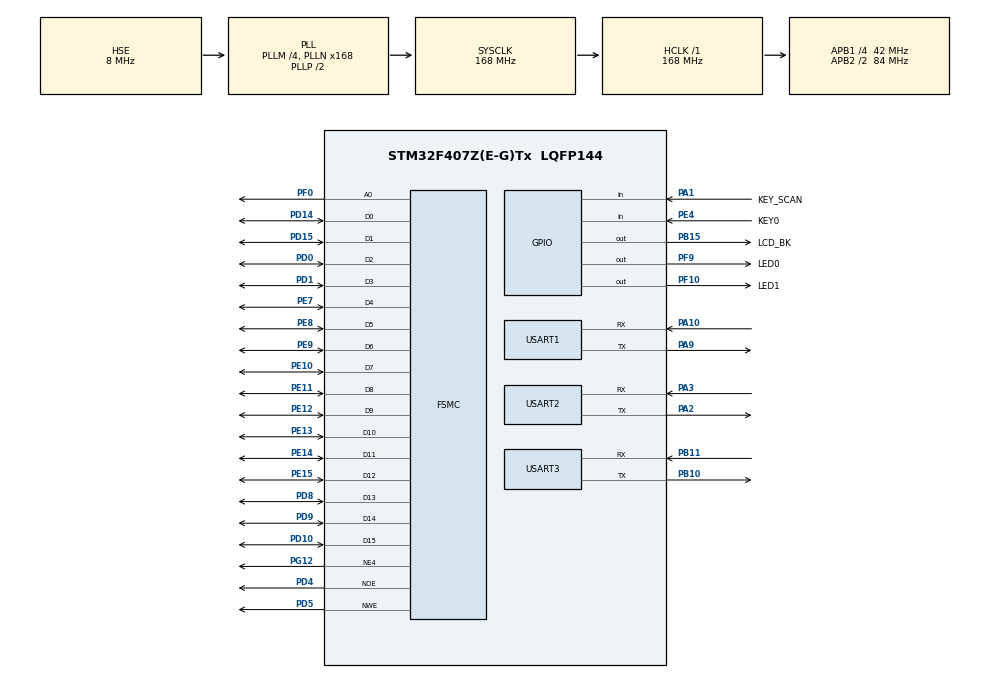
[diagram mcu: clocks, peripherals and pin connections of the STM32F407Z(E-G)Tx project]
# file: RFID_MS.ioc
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FREERTOS.Tasks01=defaultTask,0,128,StartDefaultTask,Default,NULL,Dynamic,NULL,NULL
Mcu.Family=STM32F4
Mcu.Name=STM32F407Z(E-G)Tx
Mcu.Package=LQFP144
NVIC.PriorityGroup=NVIC_PRIORITYGROUP_4
NVIC.TIM7_IRQn=true\:15\:0\:false\:false\:true\:false\:false\:true\:true
NVIC.TimeBase=TIM7_IRQn
NVIC.TimeBaseIP=TIM7
NVIC.USART1_IRQn=true\:5\:0\:false\:false\:true\:true\:true\:true\:true
NVIC.USART2_IRQn=true\:5\:0\:false\:false\:true\:true\:true\:true\:true
NVIC.USART3_IRQn=true\:5\:0\:false\:false\:true\:true\:true\:true\:true
PA1.GPIO_Label=KEY_SCAN
PA1.GPIO_PuPd=GPIO_PULLDOWN
PA1.Signal=GPIO_Input
PA10.Mode=Asynchronous
PA10.Signal=USART1_RX
PA13.Mode=Serial_Wire
PA13.Signal=SYS_JTMS-SWDIO
PA14.Mode=Serial_Wire
PA14.Signal=SYS_JTCK-SWCLK
PA2.Mode=Asynchronous
PA2.Signal=USART2_TX
PA3.Mode=Asynchronous
PA3.Signal=USART2_RX
PA9.Mode=Asynchronous
PA9.Signal=USART1_TX
PB10.Mode=Asynchronous
PB10.Signal=USART3_TX
PB11.Mode=Asynchronous
PB11.Signal=USART3_RX
PB15.GPIO_Label=LCD_BK
PB15.Signal=GPIO_Output
PC14-OSC32_IN.Mode=LSE-External-Oscillator
PC14-OSC32_IN.Signal=RCC_OSC32_IN
PC15-OSC32_OUT.Mode=LSE-External-Oscillator
PC15-OSC32_OUT.Signal=RCC_OSC32_OUT
PD0.Signal=FSMC_D2_DA2
PD1.Signal=FSMC_D3_DA3
PD10.Signal=FSMC_D15_DA15
PD14.Signal=FSMC_D0_DA0
PD15.Signal=FSMC_D1_DA1
PD4.Signal=FSMC_NOE
PD5.Signal=FSMC_NWE
PD8.Signal=FSMC_D13_DA13
PD9.Signal=FSMC_D14_DA14
PE10.Signal=FSMC_D7_DA7
PE11.Signal=FSMC_D8_DA8
PE12.Signal=FSMC_D9_DA9
PE13.Signal=FSMC_D10_DA10
PE14.Signal=FSMC_D11_DA11
PE15.Signal=FSMC_D12_DA12
PE4.GPIO_Label=KEY0
PE4.GPIO_PuPd=GPIO_PULLDOWN
PE4.Signal=GPIO_Input
PE7.Signal=FSMC_D4_DA4
PE8.Signal=FSMC_D5_DA5
PE9.Signal=FSMC_D6_DA6
PF0.Signal=FSMC_A0
PF10.GPIO_Label=LED1
PF10.Signal=GPIO_Output
PF9.GPIO_Label=LED0
PF9.Signal=GPIO_Output
PG12.Mode=NorPsramChipSelect4_4
PG12.Signal=FSMC_NE4
PH0-OSC_IN.Mode=HSE-External-Oscillator
PH0-OSC_IN.Signal=RCC_OSC_IN
PH1-OSC_OUT.Mode=HSE-External-Oscillator
PH1-OSC_OUT.Signal=RCC_OSC_OUT
ProjectManager.HeapSize=0x1000
ProjectManager.StackSize=0x1000
ProjectManager.TargetToolchain=MDK-ARM V5.32
RCC.48MHZClocksFreq_Value=84000000
RCC.AHBFreq_Value=168000000
RCC.APB1CLKDivider=RCC_HCLK_DIV4
RCC.APB1Freq_Value=42000000
RCC.APB1TimFreq_Value=84000000
RCC.APB2CLKDivider=RCC_HCLK_DIV2
RCC.APB2Freq_Value=84000000
RCC.APB2TimFreq_Value=168000000
RCC.CortexFreq_Value=168000000
RCC.HCLKFreq_Value=168000000
RCC.HSE_VALUE=8000000
RCC.HSI_VALUE=16000000
RCC.PLLM=4
RCC.PLLN=168
RCC.PLLSourceVirtual=RCC_PLLSOURCE_HSE
RCC.RCC_RTC_Clock_Source=RCC_RTCCLKSOURCE_LSE
RCC.RCC_RTC_Clock_SourceVirtual=RCC_RTCCLKSOURCE_LSE
RCC.SYSCLKFreq_VALUE=168000000
RCC.SYSCLKSource=RCC_SYSCLKSOURCE_PLLCLK
RCC.VCOOutputFreq_Value=336000000
RTC.Format=RTC_FORMAT_BIN
SH.FSMC_A0.0=FSMC_A0,A0_4
SH.FSMC_D0_DA0.0=FSMC_D0,16b-d4
SH.FSMC_D10_DA10.0=FSMC_D10,16b-d4
SH.FSMC_D11_DA11.0=FSMC_D11,16b-d4
SH.FSMC_D12_DA12.0=FSMC_D12,16b-d4
SH.FSMC_D13_DA13.0=FSMC_D13,16b-d4
SH.FSMC_D14_DA14.0=FSMC_D14,16b-d4
SH.FSMC_D15_DA15.0=FSMC_D15,16b-d4
SH.FSMC_D1_DA1.0=FSMC_D1,16b-d4
SH.FSMC_D2_DA2.0=FSMC_D2,16b-d4
SH.FSMC_D3_DA3.0=FSMC_D3,16b-d4
SH.FSMC_D4_DA4.0=FSMC_D4,16b-d4
SH.FSMC_D5_DA5.0=FSMC_D5,16b-d4
SH.FSMC_D6_DA6.0=FSMC_D6,16b-d4
SH.FSMC_D7_DA7.0=FSMC_D7,16b-d4
SH.FSMC_D8_DA8.0=FSMC_D8,16b-d4
SH.FSMC_D9_DA9.0=FSMC_D9,16b-d4
SH.FSMC_NOE.0=FSMC_NOE,Lcd4
SH.FSMC_NWE.0=FSMC_NWE,Lcd4
TIM2.Period=65535
TIM2.Prescaler=84-1
USART1.VirtualMode=VM_ASYNC
USART2.VirtualMode=VM_ASYNC
USART3.VirtualMode=VM_ASYNC
VP_FREERTOS_VS_CMSIS_V1.Mode=CMSIS_V1
VP_RTC_VS_RTC_Activate.Mode=RTC_Enabled
VP_RTC_VS_RTC_Calendar.Mode=RTC_Calendar
VP_SYS_VS_tim7.Mode=TIM7
VP_TIM2_VS_ClockSourceINT.Mode=Internal
board=custom

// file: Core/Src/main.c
/* USER CODE BEGIN Header */
/**
  ******************************************************************************
  * @file           : main.c
  * @brief          : Main program body
  ******************************************************************************
  * @attention
  *
  * Copyright (c) 2023 STMicroelectronics.
  * All rights reserved.
  *
  * This software is licensed under terms that can be found in the LICENSE file
  * in the root directory of this software component.
  * If no LICENSE file comes with this software, it is provided AS-IS.
  *
  ******************************************************************************
  */
/* USER CODE END Header */
#include "main.h"
#include "cmsis_os.h"
#include "rtc.h"
#include "tim.h"
#include "usart.h"
#include "gpio.h"
#include "fsmc.h"

void SystemClock_Config(void);
void MX_FREERTOS_Init(void);

int main(void)
{

  /* MCU Configuration--------------------------------------------------------*/

  /* Reset of all peripherals, Initializes the Flash interface and the Systick. */
  HAL_Init();

  /* Configure the system clock */
  SystemClock_Config();

  /* Initialize all configured peripherals */
  MX_GPIO_Init();
  MX_FSMC_Init();
  MX_RTC_Init();
  MX_USART1_UART_Init();
  MX_USART2_UART_Init();
  MX_USART3_UART_Init();
  MX_TIM2_Init();
  /* USER CODE BEGIN 2 */
    LCD_Init();
    Touch_Init();
    RTC_Get(&system_time.year, &system_time.month, &system_time.day,
            &system_time.hour, &system_time.minute, &system_time.second);// 获取最新RTC时间
    printf("%d-%d-%d %d:%d:%d\r\n", system_time.year, system_time.month, system_time.day,
            system_time.hour, system_time.minute, system_time.second);
    lv_init();                  // lvgl初始化，如果这个没有初始化，那么下面的初始化会崩溃
    lv_port_disp_init();        // 显示器初始化
    lv_port_indev_init();       // 输入设备初始化（如果没有实现就注释掉）
    demo_create();  // 创建用户交互界面
  /* USER CODE END 2 */

  /* Call init function for freertos objects (in freertos.c) */
  MX_FREERTOS_Init();

  /* Start scheduler */
  osKernelStart();

  /* We should never get here as control is now taken by the scheduler */
  /* Infinite loop */
  while (1)
  {

  }
}

void SystemClock_Config(void)
{
  RCC_OscInitTypeDef RCC_OscInitStruct = {0};
  RCC_ClkInitTypeDef RCC_ClkInitStruct = {0};

  /** Configure the main internal regulator output voltage
  */
  __HAL_RCC_PWR_CLK_ENABLE();
  __HAL_PWR_VOLTAGESCALING_CONFIG(PWR_REGULATOR_VOLTAGE_SCALE1);

  /** Initializes the RCC Oscillators according to the specified parameters
  * in the RCC_OscInitTypeDef structure.
  */
  RCC_OscInitStruct.OscillatorType = RCC_OSCILLATORTYPE_HSE|RCC_OSCILLATORTYPE_LSE;
  RCC_OscInitStruct.HSEState = RCC_HSE_ON;
  RCC_OscInitStruct.LSEState = RCC_LSE_ON;
  RCC_OscInitStruct.PLL.PLLState = RCC_PLL_ON;
  RCC_OscInitStruct.PLL.PLLSource = RCC_PLLSOURCE_HSE;
  RCC_OscInitStruct.PLL.PLLM = 4;
  RCC_OscInitStruct.PLL.PLLN = 168;
  RCC_OscInitStruct.PLL.PLLP = RCC_PLLP_DIV2;
  RCC_OscInitStruct.PLL.PLLQ = 4;
  if (HAL_RCC_OscConfig(&RCC_OscInitStruct) != HAL_OK)
  {
    Error_Handler();
  }

  /** Initializes the CPU, AHB and APB buses clocks
  */
  RCC_ClkInitStruct.ClockType = RCC_CLOCKTYPE_HCLK|RCC_CLOCKTYPE_SYSCLK
                              |RCC_CLOCKTYPE_PCLK1|RCC_CLOCKTYPE_PCLK2;
  RCC_ClkInitStruct.SYSCLKSource = RCC_SYSCLKSOURCE_PLLCLK;
  RCC_ClkInitStruct.AHBCLKDivider = RCC_SYSCLK_DIV1;
  RCC_ClkInitStruct.APB1CLKDivider = RCC_HCLK_DIV4;
  RCC_ClkInitStruct.APB2CLKDivider = RCC_HCLK_DIV2;

  if (HAL_RCC_ClockConfig(&RCC_ClkInitStruct, FLASH_LATENCY_5) != HAL_OK)
  {
    Error_Handler();
  }
}

void HAL_TIM_PeriodElapsedCallback(TIM_HandleTypeDef *htim)
{
  if (htim->Instance == TIM7) {
    HAL_IncTick();
  }
}

void Error_Handler(void)
{
  __disable_irq();
  while (1)
  {
  }
}

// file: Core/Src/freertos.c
/* USER CODE BEGIN Header */
/**
  ******************************************************************************
  * File Name          : freertos.c
  * Description        : Code for freertos applications
  ******************************************************************************
  * @attention
  *
  * Copyright (c) 2023 STMicroelectronics.
  * All rights reserved.
  *
  * This software is licensed under terms that can be found in the LICENSE file
  * in the root directory of this software component.
  * If no LICENSE file comes with this software, it is provided AS-IS.
  *
  ******************************************************************************
  */
/* USER CODE END Header */

#include "FreeRTOS.h"
#include "task.h"
#include "main.h"
#include "cmsis_os.h"

/* USER CODE BEGIN Includes */
#include "bsp.h"

/* USER CODE END Includes */

osThreadId LVGL_TaskHandle;
osThreadId LedToggle_TaskHandle;
osThreadId Protocol_TaskHandle;
osThreadId KeyScan_TaskHandle;
osThreadId RFIDScan_TaskHandle;
osMessageQId KeySta_QueueHandle;
osMessageQId LVGL_Refresh_QueueHandle;

void Start_LVGL_Task(void const * argument);
void Start_LedToggle_Task(void const * argument);
void Start_Protocol_Task(void const * argument);
void Start_KeyScan_Task(void const * argument);
void Start_RFIDScan_Task(void const * argument);

void MX_FREERTOS_Init(void); /* (MISRA C 2004 rule 8.1) */

/* GetIdleTaskMemory prototype (linked to static allocation support) */
void vApplicationGetIdleTaskMemory( StaticTask_t **ppxIdleTaskTCBBuffer, StackType_t **ppxIdleTaskStackBuffer, uint32_t *pulIdleTaskStackSize );

/* USER CODE BEGIN GET_IDLE_TASK_MEMORY */
static StaticTask_t xIdleTaskTCBBuffer;
static StackType_t xIdleStack[configMINIMAL_STACK_SIZE];

void vApplicationGetIdleTaskMemory( StaticTask_t **ppxIdleTaskTCBBuffer, StackType_t **ppxIdleTaskStackBuffer, uint32_t *pulIdleTaskStackSize )
{
  *ppxIdleTaskTCBBuffer = &xIdleTaskTCBBuffer;
  *ppxIdleTaskStackBuffer = &xIdleStack[0];
  *pulIdleTaskStackSize = configMINIMAL_STACK_SIZE;
  /* place for user code */
}
/* USER CODE END GET_IDLE_TASK_MEMORY */

void MX_FREERTOS_Init(void) {

  /* Create the queue(s) */
  /* definition and creation of KeySta_Queue */
  osMessageQDef(KeySta_Queue, 1, uint8_t);
  KeySta_QueueHandle = osMessageCreate(osMessageQ(KeySta_Queue), NULL);

  /* definition and creation of LVGL_Refresh_Queue */
  osMessageQDef(LVGL_Refresh_Queue, 3, uint8_t);
  LVGL_Refresh_QueueHandle = osMessageCreate(osMessageQ(LVGL_Refresh_Queue), NULL);

  /* Create the thread(s) */
  /* definition and creation of LVGL_Task */
  osThreadDef(LVGL_Task, Start_LVGL_Task, osPriorityHigh, 0, 512);
  LVGL_TaskHandle = osThreadCreate(osThread(LVGL_Task), NULL);

  /* definition and creation of LedToggle_Task */
  osThreadDef(LedToggle_Task, Start_LedToggle_Task, osPriorityIdle, 0, 128);
  LedToggle_TaskHandle = osThreadCreate(osThread(LedToggle_Task), NULL);

  /* definition and creation of Protocol_Task */
  osThreadDef(Protocol_Task, Start_Protocol_Task, osPriorityAboveNormal, 0, 128);
  Protocol_TaskHandle = osThreadCreate(osThread(Protocol_Task), NULL);

  /* definition and creation of KeyScan_Task */
  osThreadDef(KeyScan_Task, Start_KeyScan_Task, osPriorityIdle, 0, 128);
  KeyScan_TaskHandle = osThreadCreate(osThread(KeyScan_Task), NULL);

  /* definition and creation of RFIDScan_Task */
  osThreadDef(RFIDScan_Task, Start_RFIDScan_Task, osPriorityRealtime, 0, 128);
  RFIDScan_TaskHandle = osThreadCreate(osThread(RFIDScan_Task), NULL);

}

void Start_LVGL_Task(void const * argument)
{
  /* USER CODE BEGIN Start_LVGL_Task */
    osEvent lv_evt;
  /* Infinite loop */
  for(;;)
  {
    lv_evt = osMessageGet(LVGL_Refresh_QueueHandle, 10);
    switch (lv_evt.value.v) {
        case LVGL_TIME_REFRESH:
            time_update();
            break;
        case LVGL_INSTORAGE_SINGLE_RECORD_ADD:
            screen_instorage_record_add(TAG[0].TID);
            break;
        case LVGL_INSTORAGE_MULTI_RECORD_ADD:
            for (uint32_t i = 0; i < tag_filter.len; i++) {
                screen_instorage_record_add(tag_filter.tag[i].TID);
            }
            break;
        case LVGL_OUTSTORAGE_SINGLE_RECORD_ADD:
            screen_outstorage_record_add(TAG[0].TID);
            break;
        case LVGL_OUTSTORAGE_MULTI_RECORD_ADD:
            for (uint32_t i = 0; i < tag_filter.len; i++) {
                screen_outstorage_record_add(tag_filter.tag[i].TID);
            }
            break;
        default:
            break;
    }
    lv_task_handler();//lvgl的事务处理
    osDelay(1);
  }
  /* USER CODE END Start_LVGL_Task */
}

void Start_LedToggle_Task(void const * argument)
{
  /* USER CODE BEGIN Start_LedToggle_Task */
  /* Infinite loop */
  for(;;)
  {
    osDelay(500);
    HAL_GPIO_TogglePin(LED0_GPIO_Port,LED0_Pin);
    osDelay(500);
    osMessagePut(LVGL_Refresh_QueueHandle, LVGL_TIME_REFRESH, 20);
  }
  /* USER CODE END Start_LedToggle_Task */
}

void Start_Protocol_Task(void const * argument)
{
  /* USER CODE BEGIN Start_Protocol_Task */
  /* Infinite loop */
  for(;;)
  {
    if (Uart1_Rx_Sta == 1) {
        printf("Uart1_Rx:%s\r\n", Uart1_Rx_Buf);
        Protocol_Decode(PROTOCOL_MODE_DEFAULT, Uart1_Rx_Buf, strlen(Uart1_Rx_Buf));
        Uart1_Rx_Sta = 0;
        RTC_Get(&system_time.year, &system_time.month, &system_time.day,
            &system_time.hour, &system_time.minute, &system_time.second);
        printf("%d-%d-%d %d:%d:%d\r\n", system_time.year, system_time.month, system_time.day,
            system_time.hour, system_time.minute, system_time.second);
    }
    if (Uart3_Rx_Sta == 1) {
        printf("Uart3_Rx:%s\r\n", Uart3_Rx_Buf);
        Protocol_Decode(PROTOCOL_MODE_DEFAULT, Uart3_Rx_Buf, strlen(Uart3_Rx_Buf));
        Uart3_Rx_Sta = 0;
        RTC_Get(&system_time.year, &system_time.month, &system_time.day,
            &system_time.hour, &system_time.minute, &system_time.second);
        printf("%d-%d-%d %d:%d:%d\r\n", system_time.year, system_time.month, system_time.day,
            system_time.hour, system_time.minute, system_time.second);
    }
    osDelay(10);
  }
  /* USER CODE END Start_Protocol_Task */
}

void Start_KeyScan_Task(void const * argument)
{
  /* USER CODE BEGIN Start_KeyScan_Task */
  /* Infinite loop */
  for(;;)
  {
	/*检测是否有按键按下 */
	if(HAL_GPIO_ReadPin(SCANKEY_GPIO_PORT,SCANKEY_PIN) == KEY_ON )
	{
        osMessagePut(KeySta_QueueHandle, KEY_PRESS, osWaitForever);
		/*等待按键释放 */
		while(HAL_GPIO_ReadPin(SCANKEY_GPIO_PORT,SCANKEY_PIN) == KEY_ON);
        osMessagePut(KeySta_QueueHandle, KEY_RELEASE, osWaitForever);
	}
    osDelay(20);
  }
  /* USER CODE END Start_KeyScan_Task */
}

void Start_RFIDScan_Task(void const * argument)
{
  /* USER CODE BEGIN Start_RFIDScan_Task */
    uint8_t scan_sta = KEY_RELEASE;
    osEvent evt;
  /* Infinite loop */
  for(;;)
  {
    evt = osMessageGet(KeySta_QueueHandle, 20);
    if (rfid_scan_enable == SCAN_ENABLE) { //RFID扫描使能
        if (evt.value.v == KEY_PRESS) {
            scan_sta = KEY_PRESS;
        } else if (evt.value.v == KEY_RELEASE) {
            scan_sta = KEY_RELEASE;
            if (rfid_scan_mode == SCAN_MODE_INSTORAGE_MULTI || rfid_scan_mode == SCAN_MODE_OUTSTORAGE_MULTI) { //RFID连续扫描模式，松开按键后进行标签筛选及显示
                RFID_FilterTag(&tag_cnt);
                    if (rfid_scan_mode == SCAN_MODE_INSTORAGE_MULTI) {
                        osMessagePut(LVGL_Refresh_QueueHandle, LVGL_INSTORAGE_MULTI_RECORD_ADD, 20);
                    }
                    else  {
                        osMessagePut(LVGL_Refresh_QueueHandle, LVGL_OUTSTORAGE_MULTI_RECORD_ADD, 20);
                    }
            }
            tag_cnt = 0;
            HAL_GPIO_WritePin(LED1_GPIO_Port, LED1_Pin, GPIO_PIN_SET);
        }
        if (scan_sta != KEY_RELEASE) { //RFID扫描按键未松开
            if (rfid_scan_mode == SCAN_MODE_INSTORAGE_SINGLE || rfid_scan_mode == SCAN_MODE_OUTSTORAGE_SINGLE) { //RFID单次扫描模式
                if (tag_cnt == 0) {
                    RFID_GetSingleTID();
                    HAL_GPIO_TogglePin(LED1_GPIO_Port,LED1_Pin);
                    if (tag_cnt != 0) {
                        if (rfid_scan_mode == SCAN_MODE_INSTORAGE_SINGLE) {
                            osMessagePut(LVGL_Refresh_QueueHandle, LVGL_INSTORAGE_SINGLE_RECORD_ADD, 20);
                        } else {
                            osMessagePut(LVGL_Refresh_QueueHandle, LVGL_OUTSTORAGE_SINGLE_RECORD_ADD, 20);
                        }
                    }
                }
            } else if (rfid_scan_mode == SCAN_MODE_INSTORAGE_MULTI || rfid_scan_mode == SCAN_MODE_OUTSTORAGE_MULTI) { //RFID连续扫描模式
                RFID_GetSingleTID();
                HAL_GPIO_TogglePin(LED1_GPIO_Port,LED1_Pin);
            }
        }
    }
    osDelay(10);
  }
  /* USER CODE END Start_RFIDScan_Task */
}
